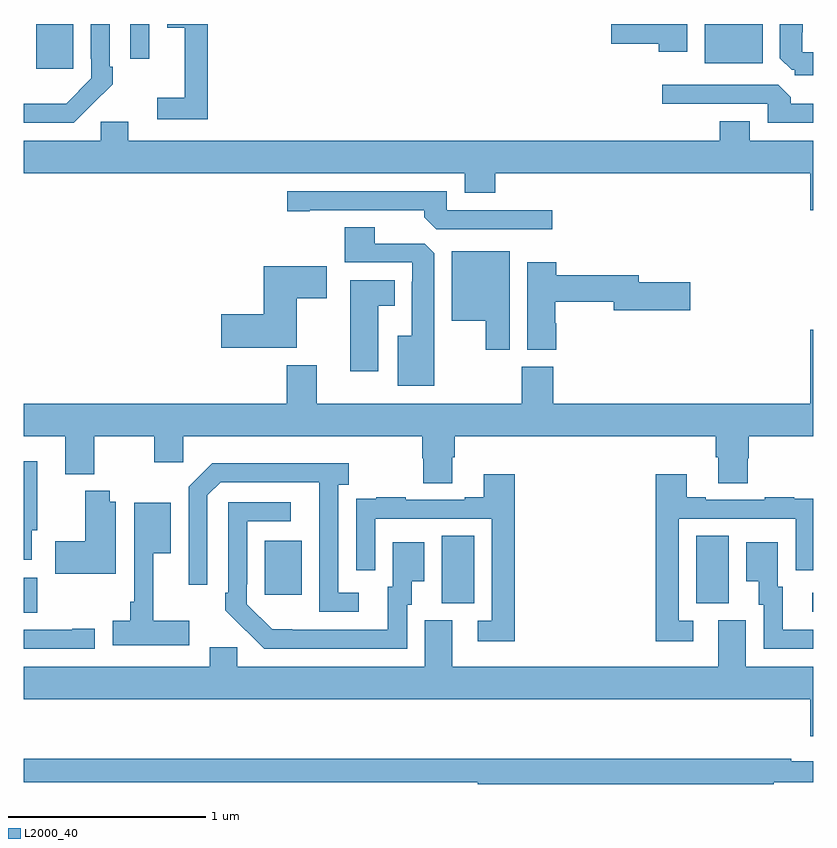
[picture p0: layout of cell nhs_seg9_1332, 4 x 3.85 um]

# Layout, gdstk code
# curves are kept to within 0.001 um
import gdstk
lib = gdstk.Library(unit=1e-6, precision=1e-09)
def R(c, l, rs):  # rectangles x0, y0, x1, y1
    for r in rs: c.add(gdstk.rectangle(r[:2], r[2:], *l))
def P(c, l, *ps):  # polygons
    for p in ps: c.add(gdstk.Polygon(p, *l))
L2000_40 = (2000, 40)

nhs_seg9_1332 = lib.new_cell('nhs_seg9_1332')
R(nhs_seg9_1332, L2000_40, [(185,1203.517,185.069,1203.696), (188.994,1203.522,189,1203.618), (187.118,1203.565,187.282,1203.908), (188.408,1203.565,188.572,1203.908), (186.221,1203.609,186.409,1203.883), (185.063,1206.273,185.251,1206.5), (188.45,1206.302,188.743,1206.5), (185.541,1206.324,185.637,1206.5)])
P(nhs_seg9_1332, L2000_40, [(189,1206.357),(188.943,1206.357),(188.943,1206.457),(188.947,1206.457),(188.947,1206.5),(188.831,1206.5),(188.831,1206.327),(188.891,1206.267),(188.907,1206.267),(188.907,1206.24),(189,1206.24)],
  [(185.933,1206.5),(185.726,1206.5),(185.726,1206.482),(185.816,1206.482),(185.816,1206.127),(185.676,1206.127),(185.676,1206.018),(185.933,1206.018)],
  [(185.345,1206.091),(185.346,1206.09),(185.451,1206.195),(185.451,1206.283),(185.436,1206.283),(185.436,1206.5),(185.34,1206.5),(185.34,1206.325),(185.343,1206.325),(185.343,1206.225),(185.215,1206.097),(185,1206.096),(185,1206),(185.254,1206)],
  [(188.362,1206.5),(187.977,1206.5),(187.977,1206.401),(188.216,1206.401),(188.216,1206.36),(188.362,1206.36)],
  [(189,1206.096),(188.885,1206.096),(188.885,1206.13),(188.823,1206.192),(188.235,1206.192),(188.235,1206.096),(188.769,1206.096),(188.769,1206),(189,1206)],
  [(189,1205.908),(188.677,1205.908),(188.677,1206.007),(188.525,1206.007),(188.525,1205.908),(185.53,1205.908),(185.53,1206.006),(185.391,1206.006),(185.391,1205.908),(185,1205.908),(185,1205.744),(187.235,1205.744),(187.235,1205.645),(187.388,1205.645),(187.388,1205.744),(188.984,1205.744),(188.984,1205.556),(189,1205.556)],
  [(187.678,1205.556),(187.143,1205.556),(187.143,1205.652),(186.336,1205.652),(186.336,1205.551),(186.448,1205.551),(186.448,1205.556),(187.028,1205.556),(187.028,1205.522),(187.089,1205.46),(187.678,1205.46)],
  [(187.081,1205.339),(187.032,1205.388),(186.778,1205.388),(186.778,1205.471),(186.626,1205.471),(186.626,1205.292),(186.969,1205.292),(186.969,1205.195),(186.965,1205.195),(186.965,1204.921),(186.896,1204.921),(186.896,1204.667),(187.081,1204.667)],
  [(187.462,1205.35),(187.169,1205.35),(187.169,1204.997),(187.34,1204.997),(187.34,1204.851),(187.462,1204.851)],
  [(187.697,1204.985),(187.692,1204.985),(187.692,1205.092),(187.988,1205.092),(187.988,1205.05),(188.377,1205.05),(188.377,1205.192),(188.116,1205.192),(188.116,1205.228),(187.697,1205.228),(187.697,1205.293),(187.55,1205.293),(187.55,1204.849),(187.697,1204.849)],
  [(186.382,1205.11),(186.535,1205.11),(186.535,1205.272),(186.215,1205.272),(186.215,1205.03),(186,1205.03),(186,1204.859),(186.382,1204.859)],
  [(186.796,1205.072),(186.88,1205.072),(186.88,1205.203),(186.653,1205.203),(186.653,1204.74),(186.796,1204.74)],
  [(186.332,1204.771),(186.332,1204.576),(185,1204.576),(185,1204.412),(185.21,1204.412),(185.21,1204.22),(185.358,1204.22),(185.358,1204.412),(185.662,1204.412),(185.662,1204.281),(185.808,1204.281),(185.808,1204.412),(187.019,1204.412),(187.019,1204.299),(187.024,1204.299),(187.024,1204.174),(187.171,1204.174),(187.171,1204.306),(187.184,1204.306),(187.184,1204.412),(188.507,1204.412),(188.507,1204.306),(188.519,1204.306),(188.519,1204.174),(188.667,1204.174),(188.667,1204.299),(188.672,1204.299),(188.672,1204.412),(189,1204.412),(189,1204.951),(188.984,1204.951),(188.984,1204.576),(187.682,1204.576),(187.682,1204.764),(187.522,1204.764),(187.522,1204.576),(186.484,1204.576),(186.484,1204.771)],
  [(185.041,1203.936),(185.068,1203.936),(185.068,1204.285),(185,1204.285),(185,1203.785),(185.041,1203.785)],
  [(186.697,1203.618),(186.594,1203.618),(186.594,1204.166),(186.646,1204.166),(186.646,1204.276),(185.956,1204.276),(185.835,1204.155),(185.835,1203.66),(185.931,1203.66),(185.931,1204.113),(185.997,1204.179),(186.497,1204.179),(186.498,1203.522),(186.697,1203.522)],
  [(187.487,1204.219),(187.331,1204.219),(187.331,1204.102),(187.235,1204.102),(187.235,1204.089),(186.935,1204.089),(186.935,1204.102),(186.787,1204.102),(186.787,1204.095),(186.685,1204.095),(186.685,1203.986),(186.684,1203.986),(186.684,1203.732),(186.78,1203.732),(186.78,1203.993),(187.371,1203.993),(187.371,1203.477),(187.299,1203.477),(187.299,1203.372),(187.487,1203.372)],
  [(188.392,1203.477),(188.319,1203.477),(188.319,1203.993),(188.91,1203.993),(188.91,1203.732),(189,1203.732),(189,1204.095),(188.903,1204.095),(188.903,1204.102),(188.755,1204.102),(188.755,1204.089),(188.455,1204.089),(188.455,1204.102),(188.359,1204.102),(188.359,1204.219),(188.203,1204.219),(188.203,1203.372),(188.392,1203.372)],
  [(185.467,1204.081),(185.437,1204.081),(185.437,1204.135),(185.312,1204.135),(185.312,1203.879),(185.16,1203.879),(185.16,1203.716),(185.467,1203.716)],
  [(186.942,1203.558),(186.967,1203.558),(186.967,1203.677),(187.03,1203.677),(187.03,1203.874),(186.869,1203.874),(186.869,1203.648),(186.845,1203.648),(186.845,1203.432),(186.258,1203.433),(186.129,1203.561),(186.129,1203.661),(186.132,1203.661),(186.132,1203.981),(186.352,1203.981),(186.352,1204.077),(186.036,1204.077),(186.036,1203.619),(186.021,1203.619),(186.021,1203.531),(186.218,1203.336),(186.942,1203.336)],
  [(185.839,1203.478),(185.657,1203.478),(185.657,1203.818),(185.746,1203.818),(185.746,1204.075),(185.559,1204.075),(185.559,1203.574),(185.539,1203.574),(185.539,1203.478),(185.45,1203.478),(185.45,1203.353),(185.839,1203.353)],
  [(189,1203.432),(188.845,1203.432),(188.845,1203.648),(188.821,1203.648),(188.821,1203.874),(188.66,1203.874),(188.66,1203.677),(188.723,1203.677),(188.723,1203.558),(188.748,1203.558),(188.748,1203.336),(189,1203.336)],
  [(189,1203.244),(188.659,1203.244),(188.659,1203.48),(188.519,1203.48),(188.519,1203.244),(187.171,1203.244),(187.171,1203.48),(187.031,1203.48),(187.031,1203.244),(186.081,1203.244),(186.081,1203.342),(185.942,1203.342),(185.942,1203.244),(185,1203.244),(185,1203.08),(188.984,1203.08),(188.984,1202.892),(189,1202.892)],
  [(185.359,1203.437),(185.246,1203.437),(185.246,1203.432),(185,1203.432),(185,1203.336),(185.359,1203.336)],
  [(188.8,1202.658),(189,1202.658),(189,1202.766),(188.888,1202.766),(188.888,1202.779),(185,1202.779),(185,1202.658),(187.3,1202.658),(187.3,1202.65),(188.8,1202.65)])

lib.write_gds('nhs_seg9_1332.gds')
